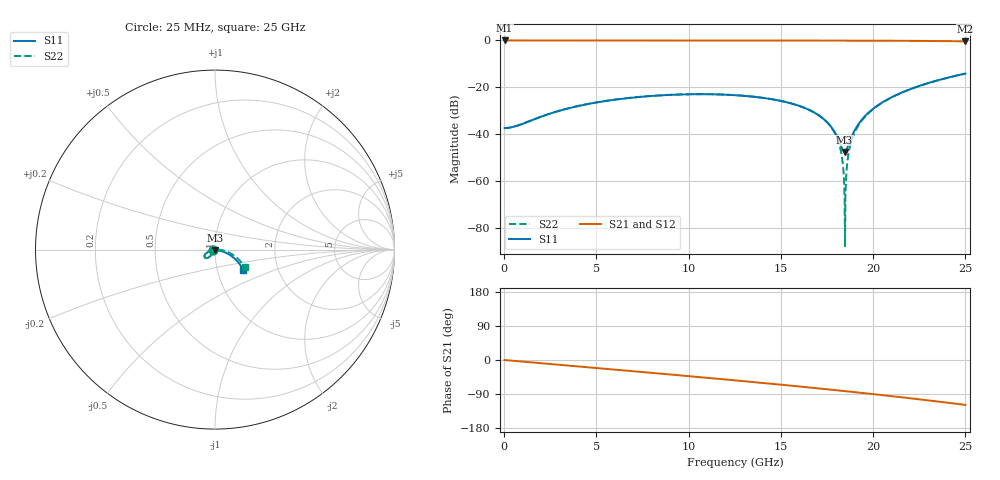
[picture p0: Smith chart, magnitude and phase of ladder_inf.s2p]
! RG_s4_pwr_n4_cap2: kisi's ladder, infinite plates (Finite board 24 × 16 mm, via L1 → L4 through the GND/PWR pair L2/L3, four GND vias at 1 mm joined to L2 only (openings in the PWR plane L3), a capacitor between L2 and L3 2 mm away)
# Hz S RI R 50
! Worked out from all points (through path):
!   1000 points, 25 MHz to 25 GHz, reference 50 ohm
!   highest |S21| = -0.12 dB at 25 MHz (marker M1); lowest = -0.5 dB at 25 GHz (marker M2)
!   group delay of S21, straight-line fit = 12.9 ps
!   lowest |S11| = -47.5 dB at 18.45 GHz (marker M3), VSWR 1.01, Z = 50 - j0.42 ohm
!   |S11| at or under -10 dB: start of sweep to end of sweep
!   |S22| runs from -87.6 to -14.2 dB; largest |S21 - S12| = 0
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2.5e7  -0.0135 -0.00022  0.9865 -0.00181  0.9865 -0.00181  -0.0135 -0.000221
4.2e9  -0.0241 -0.0335  0.9389 -0.2996  0.9389 -0.2996  -0.0241 -0.0337
8.35e9  -0.0467 -0.0475  0.8018 -0.5697  0.8018 -0.5697  -0.0467 -0.0478
1.2525e10  -0.0581 -0.0345  0.5806 -0.7921  0.5806 -0.7921  -0.0585 -0.0344
1.4975e10  -0.0476 -0.0189  0.4144 -0.8897  0.4144 -0.8897  -0.0483 -0.0179
1.6675e10  -0.0294 -0.00913  0.2843 -0.9386  0.2843 -0.9386  -0.0302 -0.00686
1.745e10  -0.0179 -0.00603  0.2212 -0.9548  0.2212 -0.9548  -0.0186 -0.00303
1.795e10  -0.00936 -0.00476  0.1793 -0.963  0.1793 -0.963  -0.00998 -0.00123
1.8225e10  -0.00431 -0.00436  0.1559 -0.9668  0.1559 -0.9668  -0.00487 -0.000507
1.83e10  -0.00288 -0.00429  0.1495 -0.9677  0.1495 -0.9677  -0.00342 -0.000347
1.8375e10  -0.00144 -0.00424  0.143 -0.9685  0.143 -0.9685  -0.00196 -0.000204
1.845e10  1.2e-05 -0.0042  0.1366 -0.9694  0.1366 -0.9694  -0.000484 -7.82e-05
1.855e10  0.00198 -0.00418  0.1279 -0.9704  0.1279 -0.9704  0.00152 6.25e-05
1.86e10  0.00298 -0.00419  0.1236 -0.9709  0.1236 -0.9709  0.00253 0.000121
1.865e10  0.00399 -0.0042  0.1193 -0.9713  0.1193 -0.9713  0.00355 0.000171
1.8775e10  0.00653 -0.00427  0.1084 -0.9724  0.1084 -0.9724  0.00614 0.000261
1.8925e10  0.00965 -0.00443  0.0953 -0.9735  0.0953 -0.9735  0.00932 0.000297
1.9125e10  0.0139 -0.00478  0.0777 -0.9747  0.0777 -0.9747  0.0137 0.00022
1.98e10  0.0291 -0.00717  0.0175 -0.9762  0.0175 -0.9762  0.0293 -0.0012
2.085e10  0.0549 -0.0152  -0.0779 -0.9701  -0.0779 -0.9701  0.0559 -0.00757
2.265e10  0.1023 -0.0439  -0.2436 -0.9334  -0.2436 -0.9334  0.1059 -0.0331
2.5e10  0.1578 -0.1146  -0.4513 -0.8302  -0.4513 -0.8302  0.1672 -0.0997
